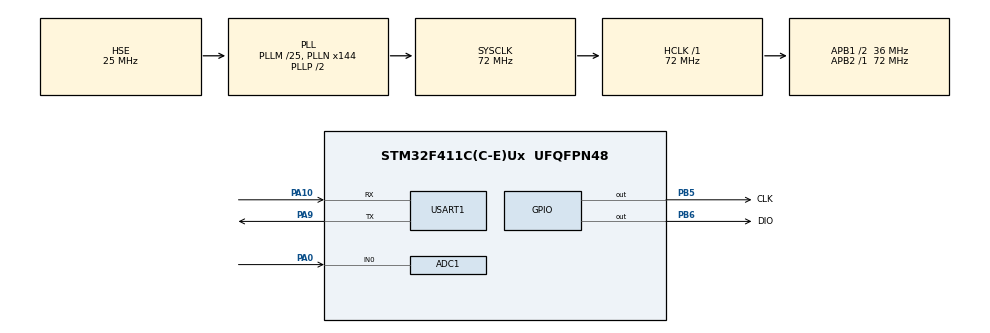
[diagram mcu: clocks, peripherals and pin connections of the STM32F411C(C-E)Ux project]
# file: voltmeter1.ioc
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ADC1.Channel-5\#ChannelRegularConversion=ADC_CHANNEL_0
ADC1.Channel-6\#ChannelRegularConversion=ADC_CHANNEL_0
ADC1.NbrOfConversion=2
ADC1.NbrOfConversionFlag=1
ADC1.Rank-5\#ChannelRegularConversion=1
ADC1.Rank-6\#ChannelRegularConversion=2
ADC1.Resolution=ADC_RESOLUTION_12B
ADC1.SamplingTime-5\#ChannelRegularConversion=ADC_SAMPLETIME_3CYCLES
ADC1.SamplingTime-6\#ChannelRegularConversion=ADC_SAMPLETIME_3CYCLES
ADC1.master=1
Mcu.Family=STM32F4
Mcu.Name=STM32F411C(C-E)Ux
Mcu.Package=UFQFPN48
NVIC.ADC_IRQn=true\:0\:0\:false\:false\:true\:true\:true\:true
NVIC.PriorityGroup=NVIC_PRIORITYGROUP_4
PA0-WKUP.Signal=ADCx_IN0
PA10.Mode=Asynchronous
PA10.Signal=USART1_RX
PA9.Mode=Asynchronous
PA9.Signal=USART1_TX
PB5.GPIO_Label=CLK
PB5.GPIO_ModeDefaultOutputPP=GPIO_MODE_OUTPUT_OD
PB5.GPIO_PuPd=GPIO_PULLUP
PB5.Signal=GPIO_Output
PB5.Stacked=true
PB6.GPIO_Label=DIO
PB6.GPIO_ModeDefaultOutputPP=GPIO_MODE_OUTPUT_OD
PB6.GPIO_PuPd=GPIO_PULLUP
PB6.Signal=GPIO_Output
PC14-OSC32_IN.Mode=LSE-External-Oscillator
PC14-OSC32_IN.Signal=RCC_OSC32_IN
PC15-OSC32_OUT.Mode=LSE-External-Oscillator
PC15-OSC32_OUT.Signal=RCC_OSC32_OUT
PH0\ -\ OSC_IN.Mode=HSE-External-Oscillator
PH0\ -\ OSC_IN.Signal=RCC_OSC_IN
PH1\ -\ OSC_OUT.Mode=HSE-External-Oscillator
PH1\ -\ OSC_OUT.Signal=RCC_OSC_OUT
ProjectManager.HeapSize=0x200
ProjectManager.StackSize=0x400
ProjectManager.TargetToolchain=STM32CubeIDE
RCC.48MHZClocksFreq_Value=36000000
RCC.AHBFreq_Value=72000000
RCC.APB1CLKDivider=RCC_HCLK_DIV2
RCC.APB1Freq_Value=36000000
RCC.APB1TimFreq_Value=72000000
RCC.APB2Freq_Value=72000000
RCC.APB2TimFreq_Value=72000000
RCC.CortexFreq_Value=72000000
RCC.HCLKFreq_Value=72000000
RCC.HSE_VALUE=25000000
RCC.HSI_VALUE=16000000
RCC.PLLM=25
RCC.PLLN=144
RCC.PLLSourceVirtual=RCC_PLLSOURCE_HSE
RCC.SYSCLKFreq_VALUE=72000000
RCC.SYSCLKSource=RCC_SYSCLKSOURCE_PLLCLK
RCC.VCOOutputFreq_Value=144000000
SH.ADCx_IN0.0=ADC1_IN0,IN0
USART1.VirtualMode=VM_ASYNC
board=custom

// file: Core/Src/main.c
/* USER CODE BEGIN Header */
/**
  ******************************************************************************
  * @file           : main.c
  * @brief          : Main program body
  ******************************************************************************
  * @attention
  *
  * Copyright (c) 2024 STMicroelectronics.
  * All rights reserved.
  *
  * This software is licensed under terms that can be found in the LICENSE file
  * in the root directory of this software component.
  * If no LICENSE file comes with this software, it is provided AS-IS.
  *
  ******************************************************************************
  */
/* USER CODE END Header */
#include "main.h"

/* USER CODE BEGIN Includes */
/*#include "tm1637.h"*/
#include "delay_micros.h"
#include "tm1637.h"
#include "stdio.h"
#include "math.h"

/* USER CODE END Includes */

ADC_HandleTypeDef hadc1;

UART_HandleTypeDef huart1;

/* USER CODE BEGIN PV */
int adcResult = 0;
/* USER CODE END PV */

void SystemClock_Config(void);
static void MX_GPIO_Init(void);
static void MX_ADC1_Init(void);
static void MX_USART1_UART_Init(void);

int main(void)
{

  /* MCU Configuration--------------------------------------------------------*/

  /* Reset of all peripherals, Initializes the Flash interface and the Systick. */
  HAL_Init();

  /* Configure the system clock */
  SystemClock_Config();

  /* Initialize all configured peripherals */
  MX_GPIO_Init();
  MX_ADC1_Init();
  MX_USART1_UART_Init();
  /* USER CODE BEGIN 2 */
  DWT_Init();        // инициализация DWT
   set_brightness(7); // 0 - 7 яркость
   clearDisplay();    // очистка дисплея

   int8_t TimeDisp[4] = {0,};
   int n=0;
   int k;
   int k1;
   int k2;
   int k3;
   int k4;
   int k5;
   int k6;
   int k7;
   int k8;
   int k9;
   int i;
  /* USER CODE END 2 */

  /* Infinite loop */
  /* USER CODE BEGIN WHILE */
  while (1)
  {
	   uint8_t str1[]="yy";
	   uint8_t str[]="yy";
		HAL_Delay(100);
		HAL_ADC_Start(&hadc1);
		while (i<8){
		 	adcResult = HAL_ADC_GetValue(&hadc1);
		 	k=(((adcResult*980)/1241)*30)/10;
		    k=(((adcResult*980)/1241)*30)/10;
			sprintf((char *)str1,"%d\n", k);
			HAL_UART_Transmit(&huart1,str1,sizeof(str1)+2,15);
		    k1=k1+k;
			i=i+1;
		}
		i=0;
		n=k1/8;
		k1=0;
		/*		HAL_Delay(10);
		 	adcResult = HAL_ADC_GetValue(&hadc1);
		 	n=(((adcResult*980)/1241)*30)/10;
			HAL_Delay(100);
			HAL_ADC_Stop(&hadc1);
			HAL_ADC_Start(&hadc1);*/
	/*    k=(((adcResult*980)/1241)*30)/10;
		HAL_Delay(100);
		HAL_ADC_Stop(&hadc1);
		HAL_ADC_Start(&hadc1);
		adcResult = HAL_ADC_GetValue(&hadc1);
		HAL_Delay(10);
        k1=(((adcResult*980)/1241)*30)/10;
		HAL_Delay(10);
		HAL_ADC_Stop(&hadc1);
		HAL_ADC_Start(&hadc1);
 		adcResult = HAL_ADC_GetValue(&hadc1);
		HAL_Delay(10);
        k2=(((adcResult*980)/1241)*30)/10;
		HAL_Delay(10);
		HAL_ADC_Stop(&hadc1);
		HAL_ADC_Start(&hadc1);
  		adcResult = HAL_ADC_GetValue(&hadc1);
		HAL_Delay(100);
        k3=(((adcResult*980)/1241)*30)/10;
		HAL_Delay(100);
		HAL_ADC_Stop(&hadc1);
		HAL_ADC_Start(&hadc1);
   		adcResult = HAL_ADC_GetValue(&hadc1);
		HAL_Delay(10);
        k4=(((adcResult*980)/1241)*30)/10;
		HAL_Delay(10);
		HAL_ADC_Stop(&hadc1);
		HAL_ADC_Start(&hadc1);
        adcResult = HAL_ADC_GetValue(&hadc1);
		HAL_ADC_PollForConversion(&hadc1, 100);
		HAL_Delay(10);
        k5=(((adcResult*980)/1241)*30)/10;
		HAL_Delay(10);
		HAL_ADC_Stop(&hadc1);
		HAL_ADC_Start(&hadc1);
     	adcResult = HAL_ADC_GetValue(&hadc1);
		HAL_Delay(100);
        k6=(((adcResult*980)/1241)*30)/10;
		HAL_Delay(100);
		HAL_ADC_Stop(&hadc1);
		HAL_ADC_Start(&hadc1);
      	adcResult = HAL_ADC_GetValue(&hadc1);
		HAL_Delay(10);
        k7=(((adcResult*980)/1241)*30)/10;
		HAL_Delay(10);
		HAL_ADC_Stop(&hadc1);
		HAL_ADC_Start(&hadc1);
       	adcResult = HAL_ADC_GetValue(&hadc1);
		HAL_Delay(10);
        k8=(((adcResult*980)/1241)*30)/10;
		HAL_Delay(10);
		HAL_ADC_Stop(&hadc1);
		HAL_ADC_Start(&hadc1);
        adcResult = HAL_ADC_GetValue(&hadc1);
		HAL_Delay(10);
        k9=(((adcResult*980)/1241)*30)/10;
		HAL_ADC_Stop(&hadc1);
        if ((k<k1)&&(k<k2)&&(k<k3)&&(k<k4)&&(k<k5)&&(k<k6)&&(k<k7)&&(k<k8)&&(k<k9)){
        	n=k;
        }
        else if (( k1<k2 ) && ( k1<k3 ) && ( k1<k4 )&&( k1<k5 )&&( k1<k6 )&&( k1<k7 )&&(k1<k8)&&(k1<k9)){
        	n=k1;
        }
        else if ((k2<k3)&&(k2<k4)&&(k2<k5)&&(k2<k6)&&(k2<k7)&&(k2<k8)&&(k2<k9)){
        	n=k2;
        }
        else if ((k3<k4)&&(k3<k5)&&(k3<k6)&&(k3<k7)&&(k3<k8)&&(k3<k9)){
        	n=k3;
        }
        else if ((k4<k5)&&(k4<k6)&&(k4<k7)&&(k4<k8)&&(k4<k9)){
        	n=k4;
        }
        else if ((k5<k6)&&(k5<k7)&&(k5<k8)&&(k5<k9)){
        	n=k5;
        }
        else if ((k6<k7)&&(k6<k8)&&(k6<k9)){
        	n=k6;
        }
        else if ((k7<k8)&&(k7<k9)){
        	n=k7;
        }
        else if ((k8<k9)){
        	n=k8;
        }
        else {
        	n=k9;
        }*/
	    int n1=0;
	    int n2=0;
	    int n3=0;

		sprintf((char *)str,"%d\n", n);
		//HAL_UART_Transmit(&huart1,str,sizeof(str)+2,15);
		HAL_Delay(100);

		          //point(1); // двоеточие, 0 - мигает, 1 - горит постоянно, удалить функцию - нет двоеточия
       	TimeDisp[0] = 0;
       	TimeDisp[1] = 0;
       	TimeDisp[2] = 0;
       	TimeDisp[3] = 0;

		   if (n>1000){
        	TimeDisp[0] = floor(n/1000);
        }
        if (n>100){
        	if (n>1000){
        	   n1=(floor(n/1000))*1000;
               TimeDisp[1] = floor((n-n1)/100);
        	}
        	else{
        		TimeDisp[1] = floor(n/100);
        	}
        }
        if (n>10){
        	if (n>1000){
        	n1=(floor(n/1000))*1000;
        	}
        	if (n>100){
        		if (n-n1==0){
        			n2=0;
                	TimeDisp[2] = n2;
        		}
        		else{
            	n2=(floor((n-n1)/100))*100;
            	TimeDisp[2] = floor((n-n1-n2)/10);
        		}
        	}
            else{TimeDisp[2] = floor(n/10);//(dot-0x80);
            }

        }
        if (n>1){
        	if (n>1000){
        	n1=(floor(n/1000))*1000;
        	}
        	if (n>100){
        		if (n-n1==0){
        			n2=0;
        	    }
        		else{
            	n2=(floor((n-n1)/100))*100;
        		}
        	}
        	if (n>10){
        		if (n-n1-n2==0){
        			n3=0;
        			TimeDisp[3] =n-n1-n2-n3;
        		}
        		else{
            	n3=(floor((n-n1-n2)/10))*10;
            	TimeDisp[3] =n-n1-n2-n3;
        		}
        	}

    		if (n-n1-n2-n3==0){
            	TimeDisp[3] = 0;
    		}
    		if(n<10){
    			TimeDisp[3] = n;
    		}

        }

		display_mass(TimeDisp);

		HAL_Delay(100);

    /* USER CODE END WHILE */

  }
}

void SystemClock_Config(void)
{
  RCC_OscInitTypeDef RCC_OscInitStruct = {0};
  RCC_ClkInitTypeDef RCC_ClkInitStruct = {0};

  /** Configure the main internal regulator output voltage
  */
  __HAL_RCC_PWR_CLK_ENABLE();
  __HAL_PWR_VOLTAGESCALING_CONFIG(PWR_REGULATOR_VOLTAGE_SCALE1);

  /** Initializes the RCC Oscillators according to the specified parameters
  * in the RCC_OscInitTypeDef structure.
  */
  RCC_OscInitStruct.OscillatorType = RCC_OSCILLATORTYPE_HSE;
  RCC_OscInitStruct.HSEState = RCC_HSE_ON;
  RCC_OscInitStruct.PLL.PLLState = RCC_PLL_ON;
  RCC_OscInitStruct.PLL.PLLSource = RCC_PLLSOURCE_HSE;
  RCC_OscInitStruct.PLL.PLLM = 25;
  RCC_OscInitStruct.PLL.PLLN = 144;
  RCC_OscInitStruct.PLL.PLLP = RCC_PLLP_DIV2;
  RCC_OscInitStruct.PLL.PLLQ = 4;
  if (HAL_RCC_OscConfig(&RCC_OscInitStruct) != HAL_OK)
  {
    Error_Handler();
  }

  /** Initializes the CPU, AHB and APB buses clocks
  */
  RCC_ClkInitStruct.ClockType = RCC_CLOCKTYPE_HCLK|RCC_CLOCKTYPE_SYSCLK
                              |RCC_CLOCKTYPE_PCLK1|RCC_CLOCKTYPE_PCLK2;
  RCC_ClkInitStruct.SYSCLKSource = RCC_SYSCLKSOURCE_PLLCLK;
  RCC_ClkInitStruct.AHBCLKDivider = RCC_SYSCLK_DIV1;
  RCC_ClkInitStruct.APB1CLKDivider = RCC_HCLK_DIV2;
  RCC_ClkInitStruct.APB2CLKDivider = RCC_HCLK_DIV1;

  if (HAL_RCC_ClockConfig(&RCC_ClkInitStruct, FLASH_LATENCY_2) != HAL_OK)
  {
    Error_Handler();
  }
}

static void MX_ADC1_Init(void)
{

  ADC_ChannelConfTypeDef sConfig = {0};

  /** Configure the global features of the ADC (Clock, Resolution, Data Alignment and number of conversion)
  */
  hadc1.Instance = ADC1;
  hadc1.Init.ClockPrescaler = ADC_CLOCK_SYNC_PCLK_DIV2;
  hadc1.Init.Resolution = ADC_RESOLUTION_12B;
  hadc1.Init.ScanConvMode = ENABLE;
  hadc1.Init.ContinuousConvMode = DISABLE;
  hadc1.Init.DiscontinuousConvMode = DISABLE;
  hadc1.Init.ExternalTrigConvEdge = ADC_EXTERNALTRIGCONVEDGE_NONE;
  hadc1.Init.ExternalTrigConv = ADC_SOFTWARE_START;
  hadc1.Init.DataAlign = ADC_DATAALIGN_RIGHT;
  hadc1.Init.NbrOfConversion = 2;
  hadc1.Init.DMAContinuousRequests = DISABLE;
  hadc1.Init.EOCSelection = ADC_EOC_SINGLE_CONV;
  if (HAL_ADC_Init(&hadc1) != HAL_OK)
  {
    Error_Handler();
  }

  /** Configure for the selected ADC regular channel its corresponding rank in the sequencer and its sample time.
  */
  sConfig.Channel = ADC_CHANNEL_0;
  sConfig.Rank = 1;
  sConfig.SamplingTime = ADC_SAMPLETIME_3CYCLES;
  if (HAL_ADC_ConfigChannel(&hadc1, &sConfig) != HAL_OK)
  {
    Error_Handler();
  }

  /** Configure for the selected ADC regular channel its corresponding rank in the sequencer and its sample time.
  */
  sConfig.Rank = 2;
  if (HAL_ADC_ConfigChannel(&hadc1, &sConfig) != HAL_OK)
  {
    Error_Handler();
  }

}

static void MX_USART1_UART_Init(void)
{

  huart1.Instance = USART1;
  huart1.Init.BaudRate = 115200;
  huart1.Init.WordLength = UART_WORDLENGTH_8B;
  huart1.Init.StopBits = UART_STOPBITS_1;
  huart1.Init.Parity = UART_PARITY_NONE;
  huart1.Init.Mode = UART_MODE_TX_RX;
  huart1.Init.HwFlowCtl = UART_HWCONTROL_NONE;
  huart1.Init.OverSampling = UART_OVERSAMPLING_16;
  if (HAL_UART_Init(&huart1) != HAL_OK)
  {
    Error_Handler();
  }

}

static void MX_GPIO_Init(void)
{
  GPIO_InitTypeDef GPIO_InitStruct = {0};

  /* GPIO Ports Clock Enable */
  __HAL_RCC_GPIOC_CLK_ENABLE();
  __HAL_RCC_GPIOH_CLK_ENABLE();
  __HAL_RCC_GPIOA_CLK_ENABLE();
  __HAL_RCC_GPIOB_CLK_ENABLE();

  /*Configure GPIO pin Output Level */
  HAL_GPIO_WritePin(GPIOB, CLK_Pin|DIO_Pin, GPIO_PIN_RESET);

  /*Configure GPIO pins : CLK_Pin DIO_Pin */
  GPIO_InitStruct.Pin = CLK_Pin|DIO_Pin;
  GPIO_InitStruct.Mode = GPIO_MODE_OUTPUT_OD;
  GPIO_InitStruct.Pull = GPIO_PULLUP;
  GPIO_InitStruct.Speed = GPIO_SPEED_FREQ_LOW;
  HAL_GPIO_Init(GPIOB, &GPIO_InitStruct);

}

void Error_Handler(void)
{
  __disable_irq();
  while (1)
  {
  }
}
